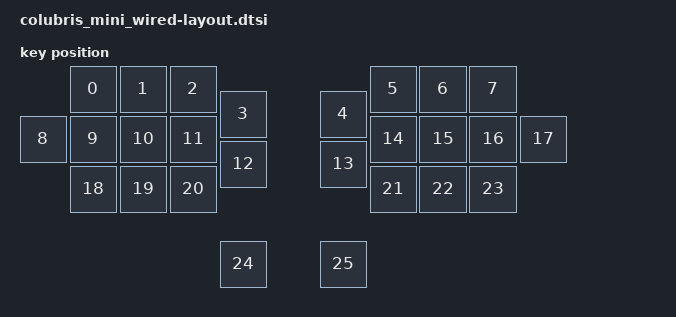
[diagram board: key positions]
#include <physical_layouts.dtsi>

/ {
    colubris_layout: colubris_layout {
        compatible = "zmk,physical-layout";
        display-name = "Default";

        keys  //                     w   h    x    y     rot    rx    ry
            = <&key_physical_attrs 100 100  100    0       0     0     0>
            , <&key_physical_attrs 100 100  200    0       0     0     0>
            , <&key_physical_attrs 100 100  300    0       0     0     0>
            , <&key_physical_attrs 100 100  400   50       0     0     0>
            , <&key_physical_attrs 100 100  600   50       0     0     0>
            , <&key_physical_attrs 100 100  700    0       0     0     0>
            , <&key_physical_attrs 100 100  800    0       0     0     0>
            , <&key_physical_attrs 100 100  900    0       0     0     0>
            , <&key_physical_attrs 100 100    0  100       0     0     0>
            , <&key_physical_attrs 100 100  100  100       0     0     0>
            , <&key_physical_attrs 100 100  200  100       0     0     0>
            , <&key_physical_attrs 100 100  300  100       0     0     0>
            , <&key_physical_attrs 100 100  400  150       0     0     0>
            , <&key_physical_attrs 100 100  600  150       0     0     0>
            , <&key_physical_attrs 100 100  700  100       0     0     0>
            , <&key_physical_attrs 100 100  800  100       0     0     0>
            , <&key_physical_attrs 100 100  900  100       0     0     0>
            , <&key_physical_attrs 100 100 1000  100       0     0     0>
            , <&key_physical_attrs 100 100  100  200       0     0     0>
            , <&key_physical_attrs 100 100  200  200       0     0     0>
            , <&key_physical_attrs 100 100  300  200       0     0     0>
            , <&key_physical_attrs 100 100  700  200       0     0     0>
            , <&key_physical_attrs 100 100  800  200       0     0     0>
            , <&key_physical_attrs 100 100  900  200       0     0     0>
            , <&key_physical_attrs 100 100  400  350       0     0     0>
            , <&key_physical_attrs 100 100  600  350       0     0     0>
            ;
    };

    
    colubris_layout_position_map: colubris_layout_position_map {
        compatible = "zmk,physical-layout-position-map";
        complete; 
        colubris_posmap: full_posmap{
            physical-layout = <&colubris_layout>;
            positions //
                =     <0  1  2  3  4  5  6  7>
                , < 8  9 10 11 12 13 14 15 16 17>
                , <   18 19 20       21 22 23>
                , <         24       25>
                ;
        };
    };
};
